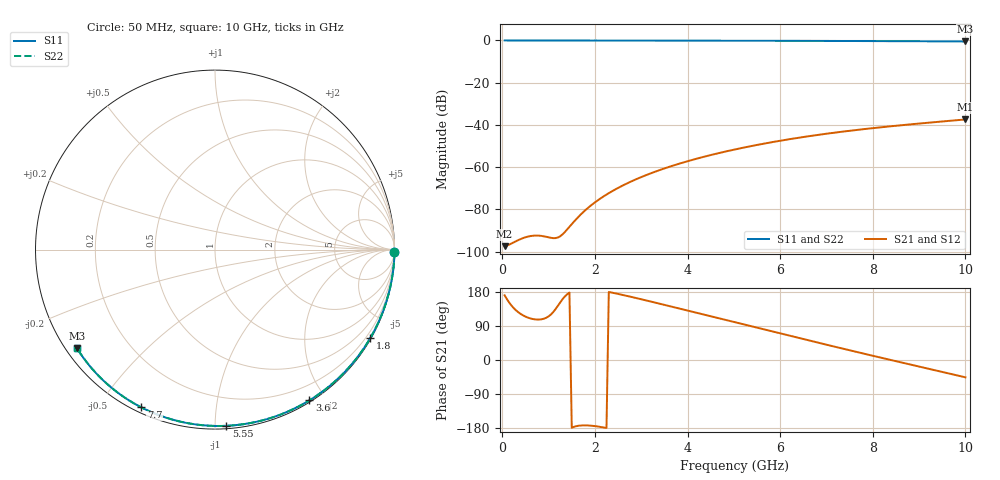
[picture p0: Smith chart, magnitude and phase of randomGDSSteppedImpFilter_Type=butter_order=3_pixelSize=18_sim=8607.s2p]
! freq	dB(S11)	phase(S11)	dB(S12)	phase(S12)
!  dB(S21)	phase(S21)	dB(S22)	phase(S22)
!S-par simulation data
#  GHz  S  DB  R 50
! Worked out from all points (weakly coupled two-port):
!   200 points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, 50 MHz to 10 GHz, reference 50 ohm
!   highest |S21| = -37.43 dB at 10 GHz (marker M1); lowest = -97.5 dB at 50 MHz (marker M2)
!   lowest |S11| = -0.5 dB at 10 GHz (marker M3), VSWR 35.59, Z = 1.55 - j16 ohm
!   |S11| at or under -10 dB: nowhere
!   |S22| runs from -0.5 to 0.0 dB; largest |S21 - S12| = 0
!   S11 on the Smith chart (normalised r, x): 50 MHz: open; 1.8 GHz: 0.03, -3.77; 3.6 GHz: 0.02, -1.81; 5.55 GHz: 0.02, -1.07; 7.7 GHz: 0.02, -0.64; 10 GHz: 0.03, -0.32
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0.05  -0.00 -0.8  -97.45 170.8  -97.45 170.8  -0.00 -0.8
0.45  -0.01 -7.5  -93.60 117.6  -93.60 117.6  -0.01 -7.5
0.9  -0.02 -15.0  -92.78 109.0  -92.78 109.0  -0.02 -15.0
1.3  -0.03 -21.6  -91.88 160.4  -91.88 160.4  -0.03 -21.6
1.75  -0.04 -28.9  -81.27 -172.5  -81.27 -172.5  -0.04 -28.9
1.8  -0.04 -29.7  -80.27 -172.5  -80.27 -172.5  -0.04 -29.7
1.85  -0.04 -30.5  -79.33 -172.7  -79.33 -172.7  -0.04 -30.5
2.15  -0.05 -35.3  -74.41 -177.1  -74.41 -177.1  -0.05 -35.3
2.3  -0.05 -37.7  -72.33 179.5  -72.33 179.5  -0.05 -37.7
2.5  -0.05 -40.9  -69.85 174.4  -69.85 174.4  -0.05 -40.9
2.9  -0.06 -47.2  -65.65 163.2  -65.65 163.2  -0.06 -47.2
3.4  -0.07 -54.9  -61.38 148.5  -61.38 148.5  -0.07 -54.9
3.6  -0.08 -57.9  -59.89 142.5  -59.89 142.5  -0.08 -58.0
4.3  -0.10 -68.4  -55.41 121.5  -55.41 121.5  -0.10 -68.4
5.05  -0.12 -79.3  -51.50 98.9  -51.50 98.9  -0.12 -79.3
5.55  -0.14 -86.3  -49.29 83.8  -49.29 83.8  -0.14 -86.3
6.1  -0.17 -93.9  -47.14 67.3  -47.14 67.3  -0.17 -93.9
6.7  -0.20 -102.0  -45.10 49.3  -45.10 49.3  -0.20 -102.0
7.7  -0.26 -115.1  -42.27 19.8  -42.27 19.8  -0.26 -115.1
8.35  -0.32 -123.5  -40.74 1.1  -40.74 1.1  -0.32 -123.5
9.2  -0.40 -134.3  -38.96 -22.9  -38.96 -22.9  -0.40 -134.3
10  -0.49 -144.4  -37.43 -45.7  -37.43 -45.7  -0.49 -144.5
